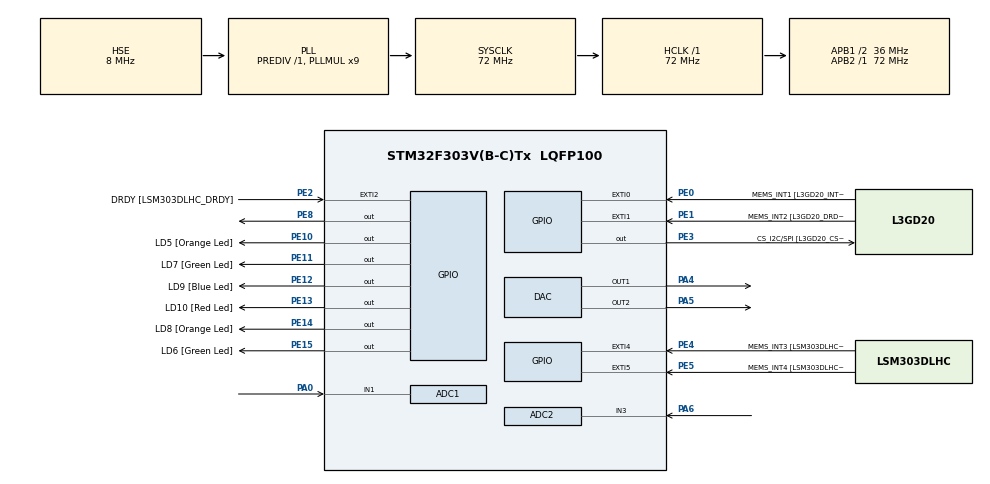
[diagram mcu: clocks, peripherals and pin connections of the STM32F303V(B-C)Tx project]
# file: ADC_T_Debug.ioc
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ADC1.Channel-10\#ChannelRegularConversion=ADC_CHANNEL_1
ADC1.Channel-11\#ChannelRegularConversion=ADC_CHANNEL_1
ADC1.ClockPrescaler=ADC_CLOCK_ASYNC_DIV1
ADC1.ContinuousConvMode=ENABLE
ADC1.DMAContinuousRequests=ENABLE
ADC1.DataAlign=ADC_DATAALIGN_RIGHT
ADC1.DiscontinuousConvMode=DISABLE
ADC1.EOCSelection=ADC_EOC_SINGLE_CONV
ADC1.EnableAnalogWatchDog1=false
ADC1.EnableAnalogWatchDog2=false
ADC1.EnableAnalogWatchDog3=false
ADC1.EnableInjectedConversion=ENABLE
ADC1.EnableRegularConversion=ENABLE
ADC1.ExternalTrigConv=ADC_EXTERNALTRIGCONV_T6_TRGO
ADC1.ExternalTrigConvEdge=ADC_EXTERNALTRIGCONVEDGE_RISING
ADC1.InjNumberOfConversion=0
ADC1.LowPowerAutoWait=DISABLE
ADC1.NbrOfConversion=2
ADC1.NbrOfConversionFlag=1
ADC1.Offset-10\#ChannelRegularConversion=0
ADC1.Offset-11\#ChannelRegularConversion=0
ADC1.OffsetNumber-10\#ChannelRegularConversion=ADC_OFFSET_NONE
ADC1.OffsetNumber-11\#ChannelRegularConversion=ADC_OFFSET_NONE
ADC1.Overrun=ADC_OVR_DATA_OVERWRITTEN
ADC1.Rank-10\#ChannelRegularConversion=1
ADC1.Rank-11\#ChannelRegularConversion=2
ADC1.Resolution=ADC_RESOLUTION_12B
ADC1.SamplingTime-10\#ChannelRegularConversion=ADC_SAMPLETIME_1CYCLE_5
ADC1.SamplingTime-11\#ChannelRegularConversion=ADC_SAMPLETIME_1CYCLE_5
ADC1.ScanConvMode=ADC_SCAN_ENABLE
ADC1.master=1
ADC2.Channel-0\#ChannelRegularConversion=ADC_CHANNEL_3
ADC2.ClockPrescaler=ADC_CLOCK_ASYNC_DIV1
ADC2.ContinuousConvMode=ENABLE
ADC2.DMAContinuousRequests=ENABLE
ADC2.DataAlign=ADC_DATAALIGN_RIGHT
ADC2.DiscontinuousConvMode=DISABLE
ADC2.EOCSelection=ADC_EOC_SINGLE_CONV
ADC2.EnableAnalogWatchDog1=false
ADC2.EnableAnalogWatchDog2=false
ADC2.EnableAnalogWatchDog3=false
ADC2.EnableInjectedConversion=ENABLE
ADC2.EnableRegularConversion=ENABLE
ADC2.ExternalTrigConv=ADC_EXTERNALTRIGCONV_T6_TRGO
ADC2.ExternalTrigConvEdge=ADC_EXTERNALTRIGCONVEDGE_RISING
ADC2.InjNumberOfConversion=0
ADC2.LowPowerAutoWait=DISABLE
ADC2.NbrOfConversion=1
ADC2.NbrOfConversionFlag=1
ADC2.Offset-0\#ChannelRegularConversion=0
ADC2.OffsetNumber-0\#ChannelRegularConversion=ADC_OFFSET_NONE
ADC2.Overrun=ADC_OVR_DATA_OVERWRITTEN
ADC2.Rank-0\#ChannelRegularConversion=1
ADC2.Resolution=ADC_RESOLUTION_12B
ADC2.SamplingTime-0\#ChannelRegularConversion=ADC_SAMPLETIME_1CYCLE_5
ADC2.ScanConvMode=ADC_SCAN_DISABLE
DAC.DAC_Trigger=DAC_TRIGGER_T6_TRGO
DAC.DAC_Trigger2=DAC_TRIGGER_T6_TRGO
Dma.ADC1.0.Direction=DMA_PERIPH_TO_MEMORY
Dma.ADC1.0.Instance=DMA1_Channel1
Dma.ADC1.0.MemDataAlignment=DMA_MDATAALIGN_WORD
Dma.ADC1.0.MemInc=DMA_MINC_ENABLE
Dma.ADC1.0.Mode=DMA_CIRCULAR
Dma.ADC1.0.PeriphDataAlignment=DMA_PDATAALIGN_WORD
Dma.ADC1.0.PeriphInc=DMA_PINC_DISABLE
Dma.ADC1.0.Priority=DMA_PRIORITY_HIGH
Dma.ADC2.3.Direction=DMA_PERIPH_TO_MEMORY
Dma.ADC2.3.Instance=DMA2_Channel3
Dma.ADC2.3.MemDataAlignment=DMA_MDATAALIGN_WORD
Dma.ADC2.3.MemInc=DMA_MINC_ENABLE
Dma.ADC2.3.Mode=DMA_CIRCULAR
Dma.ADC2.3.PeriphDataAlignment=DMA_PDATAALIGN_WORD
Dma.ADC2.3.PeriphInc=DMA_PINC_DISABLE
Dma.ADC2.3.Priority=DMA_PRIORITY_MEDIUM
Dma.DAC_CH1.1.Direction=DMA_MEMORY_TO_PERIPH
Dma.DAC_CH1.1.Instance=DMA1_Channel3
Dma.DAC_CH1.1.MemDataAlignment=DMA_MDATAALIGN_HALFWORD
Dma.DAC_CH1.1.MemInc=DMA_MINC_ENABLE
Dma.DAC_CH1.1.Mode=DMA_CIRCULAR
Dma.DAC_CH1.1.PeriphDataAlignment=DMA_PDATAALIGN_HALFWORD
Dma.DAC_CH1.1.PeriphInc=DMA_PINC_DISABLE
Dma.DAC_CH1.1.Priority=DMA_PRIORITY_LOW
Dma.DAC_CH2.2.Direction=DMA_MEMORY_TO_PERIPH
Dma.DAC_CH2.2.Instance=DMA1_Channel4
Dma.DAC_CH2.2.MemDataAlignment=DMA_MDATAALIGN_HALFWORD
Dma.DAC_CH2.2.MemInc=DMA_MINC_ENABLE
Dma.DAC_CH2.2.Mode=DMA_CIRCULAR
Dma.DAC_CH2.2.PeriphDataAlignment=DMA_PDATAALIGN_HALFWORD
Dma.DAC_CH2.2.PeriphInc=DMA_PINC_DISABLE
Dma.DAC_CH2.2.Priority=DMA_PRIORITY_LOW
Dma.Request0=ADC1
Dma.Request1=DAC_CH1
Dma.Request2=DAC_CH2
Dma.Request3=ADC2
Mcu.Family=STM32F3
Mcu.Name=STM32F303V(B-C)Tx
Mcu.Package=LQFP100
NVIC.DMA1_Channel1_IRQn=true\:0\:0\:false\:false\:true\:false
NVIC.DMA1_Channel3_IRQn=true\:0\:0\:false\:false\:true\:false
NVIC.DMA1_Channel4_IRQn=true\:0\:0\:false\:false\:true\:false
NVIC.DMA2_Channel3_IRQn=true\:0\:0\:false\:false\:true\:false
NVIC.PriorityGroup=NVIC_PRIORITYGROUP_0
PA0.Mode=IN1-Single-Ended
PA0.Signal=ADC1_IN1
PA11.GPIO_Label=DM
PA11.Signal=USB_DM
PA12.GPIO_Label=DP
PA12.Signal=USB_DP
PA13.GPIO_Label=SWDIO
PA13.Mode=Serial_Wire
PA13.Signal=SYS_JTMS-SWDIO
PA14.GPIO_Label=SWCLK
PA14.Mode=Serial_Wire
PA14.Signal=SYS_JTCK-SWCLK
PA4.Signal=COMP_DAC1_group
PA5.Signal=COMP_DAC2_group
PA6.Mode=IN3-Single-Ended
PA6.Signal=ADC2_IN3
PB3.GPIO_Label=SWO
PB3.Signal=SYS_JTDO-TRACESWO
PB6.GPIO_Label=I2C1_SCL [LSM303DLHC_SCL]
PB6.Signal=I2C1_SCL
PB7.GPIO_Label=I2C1_SDA [LSM303DLHC_SDA]
PB7.Signal=I2C1_SDA
PC14-OSC32_IN.GPIO_Label=OSC32_IN
PC14-OSC32_IN.Signal=RCC_OSC32_IN
PC15-OSC32_OUT.GPIO_Label=OSC32_OUT
PC15-OSC32_OUT.Signal=RCC_OSC32_OUT
PE0.GPIO_Label=MEMS_INT1 [L3GD20_INT1]
PE0.GPIO_ModeDefaultEXTI=GPIO_MODE_EVT_RISING
PE0.Signal=GPXTI0
PE1.GPIO_Label=MEMS_INT2 [L3GD20_DRDY/INT2]
PE1.GPIO_ModeDefaultEXTI=GPIO_MODE_EVT_RISING
PE1.Signal=GPXTI1
PE10.GPIO_Label=LD5 [Orange Led]
PE10.Signal=GPIO_Output
PE11.GPIO_Label=LD7 [Green Led]
PE11.Signal=GPIO_Output
PE12.GPIO_Label=LD9 [Blue Led]
PE12.Signal=GPIO_Output
PE13.GPIO_Label=LD10 [Red Led]
PE13.Signal=GPIO_Output
PE14.GPIO_Label=LD8 [Orange Led]
PE14.Signal=GPIO_Output
PE15.GPIO_Label=LD6 [Green Led]
PE15.Signal=GPIO_Output
PE2.GPIO_Label=DRDY [LSM303DLHC_DRDY]
PE2.GPIO_ModeDefaultEXTI=GPIO_MODE_EVT_RISING
PE2.Signal=GPXTI2
PE3.GPIO_Label=CS_I2C/SPI [L3GD20_CS_I2C/SPI]
PE3.Signal=GPIO_Output
PE4.GPIO_Label=MEMS_INT3 [LSM303DLHC_INT1]
PE4.GPIO_ModeDefaultEXTI=GPIO_MODE_EVT_RISING
PE4.Signal=GPXTI4
PE5.GPIO_Label=MEMS_INT4 [LSM303DLHC_INT2]
PE5.GPIO_ModeDefaultEXTI=GPIO_MODE_EVT_RISING
PE5.Signal=GPXTI5
PE8.GPIO_Speed=GPIO_SPEED_FREQ_HIGH
PE8.Signal=GPIO_Output
PF0-OSC_IN.GPIO_Label=OSC_IN
PF0-OSC_IN.Mode=HSE-External-Clock-Source
PF0-OSC_IN.Signal=RCC_OSC_IN
PF1-OSC_OUT.GPIO_Label=OSC_OUT
PF1-OSC_OUT.Signal=RCC_OSC_OUT
ProjectManager.HeapSize=0x200
ProjectManager.StackSize=0x400
ProjectManager.TargetToolchain=MDK-ARM V5
RCC.AHBFreq_Value=72000000
RCC.APB1CLKDivider=RCC_HCLK_DIV2
RCC.APB1Freq_Value=36000000
RCC.APB1TimFreq_Value=72000000
RCC.APB2Freq_Value=72000000
RCC.APB2TimFreq_Value=72000000
RCC.CortexFreq_Value=72000000
RCC.HCLKFreq_Value=72000000
RCC.HSE_VALUE=8000000
RCC.HSI_VALUE=8000000
RCC.LSE_VALUE=32768
RCC.PLLMUL=RCC_PLL_MUL9
RCC.PLLSourceVirtual=RCC_PLLSOURCE_HSE
RCC.PRESCALERUSB=RCC_USBCLKSOURCE_PLL_DIV1_5
RCC.SYSCLKFreq_VALUE=72000000
RCC.SYSCLKSourceVirtual=RCC_SYSCLKSOURCE_PLLCLK
RCC.USBFreq_Value=48000000
SH.COMP_DAC1_group.0=DAC_OUT1,DAC_OUT1
SH.COMP_DAC2_group.0=DAC_OUT2,Enable_DAC_OUT2
TIM6.Period=655
TIM6.TIM_MasterOutputTrigger=TIM_TRGO_UPDATE
VP_TIM6_VS_ClockSourceINT.Mode=Enable_Timer
board=STM32F3DISCOVERY

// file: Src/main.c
/**
  ******************************************************************************
  * @file           : main.c
  * @brief          : Main program body
  ******************************************************************************
  ** This notice applies to any and all portions of this file
  * that are not between comment pairs USER CODE BEGIN and
  * USER CODE END. Other portions of this file, whether
  * inserted by the user or by software development tools
  * are owned by their respective copyright owners.
  *
  * COPYRIGHT(c) 2018 STMicroelectronics
  *
  * Redistribution and use in source and binary forms, with or without modification,
  * are permitted provided that the following conditions are met:
  *   1. Redistributions of source code must retain the above copyright notice,
  *      this list of conditions and the following disclaimer.
  *   2. Redistributions in binary form must reproduce the above copyright notice,
  *      this list of conditions and the following disclaimer in the documentation
  *      and/or other materials provided with the distribution.
  *   3. Neither the name of STMicroelectronics nor the names of its contributors
  *      may be used to endorse or promote products derived from this software
  *      without specific prior written permission.
  *
  * THIS SOFTWARE IS PROVIDED BY THE COPYRIGHT HOLDERS AND CONTRIBUTORS "AS IS"
  * AND ANY EXPRESS OR IMPLIED WARRANTIES, INCLUDING, BUT NOT LIMITED TO, THE
  * IMPLIED WARRANTIES OF MERCHANTABILITY AND FITNESS FOR A PARTICULAR PURPOSE ARE
  * DISCLAIMED. IN NO EVENT SHALL THE COPYRIGHT HOLDER OR CONTRIBUTORS BE LIABLE
  * FOR ANY DIRECT, INDIRECT, INCIDENTAL, SPECIAL, EXEMPLARY, OR CONSEQUENTIAL
  * DAMAGES (INCLUDING, BUT NOT LIMITED TO, PROCUREMENT OF SUBSTITUTE GOODS OR
  * SERVICES; LOSS OF USE, DATA, OR PROFITS; OR BUSINESS INTERRUPTION) HOWEVER
  * CAUSED AND ON ANY THEORY OF LIABILITY, WHETHER IN CONTRACT, STRICT LIABILITY,
  * OR TORT (INCLUDING NEGLIGENCE OR OTHERWISE) ARISING IN ANY WAY OUT OF THE USE
  * OF THIS SOFTWARE, EVEN IF ADVISED OF THE POSSIBILITY OF SUCH DAMAGE.
  *
  ******************************************************************************
  */
#include "main.h"
#include "stm32f3xx_hal.h"

/* USER CODE BEGIN Includes */
#define ARM_MATH_CM4
#include<arm_math.h>
/* USER CODE END Includes */

ADC_HandleTypeDef hadc1;
ADC_HandleTypeDef hadc2;
DMA_HandleTypeDef hdma_adc1;
DMA_HandleTypeDef hdma_adc2;

DAC_HandleTypeDef hdac;
DMA_HandleTypeDef hdma_dac_ch1;
DMA_HandleTypeDef hdma_dac_ch2;

TIM_HandleTypeDef htim6;

/* USER CODE BEGIN PV */
/* Private variables ---------------------------------------------------------*/

/* USER CODE END PV */

void SystemClock_Config(void);
static void MX_GPIO_Init(void);
static void MX_DMA_Init(void);
static void MX_DAC_Init(void);
static void MX_TIM6_Init(void);
static void MX_ADC1_Init(void);
static void MX_ADC2_Init(void);

/* USER CODE BEGIN PFP */
/* Private function prototypes -----------------------------------------------*/

/* USER CODE END PFP */

/* USER CODE BEGIN 0 */
	uint32_t ADC1ConvertedValues[32];
	uint32_t ADC3ConvertedValues[32];
uint32_t time=0;
/* USER CODE END 0 */

int main(void)
{

  /* MCU Configuration----------------------------------------------------------*/

  /* Reset of all peripherals, Initializes the Flash interface and the Systick. */
  HAL_Init();

  /* Configure the system clock */
  SystemClock_Config();

  /* USER CODE BEGIN SysInit */
	uint16_t n =32 ;

	uint32_t Freq = 1000 ; // Frequency needed in Hertz

time = 72000000/(n*Freq) -1;
  /* USER CODE END SysInit */

  /* Initialize all configured peripherals */
  MX_GPIO_Init();
  MX_DMA_Init();
  MX_DAC_Init();
  MX_TIM6_Init();
  MX_ADC1_Init();
  MX_ADC2_Init();
  /* USER CODE BEGIN 2 */
		uint16_t y1[n], y2[n], value ;

		for (uint16_t i=0; i<n; i++){
		//	x[i] = i;
			value = (0.5*sinf(((2*PI)/n)*i)+1)*512;
			 y1[i] = value < 4096 ? value : 4095;
			y2[i] = (0.5*sinf(i*2*PI/n+PI)+1)*512;

		}

if (HAL_ADC_Start_DMA(&hadc1, (uint32_t*)ADC1ConvertedValues, 64) != HAL_OK)
	 return 0;

if (HAL_ADC_Start_DMA(&hadc2, (uint32_t*)ADC3ConvertedValues, 64) != HAL_OK)
	 return 0;

  /* USER CODE END 2 */

  /* Infinite loop */
  /* USER CODE BEGIN WHILE */
		//MX_TIM6_Init();

 // Set the needed timing in the Timer for required frequency

HAL_DAC_Start_DMA(&hdac, DAC_CHANNEL_1, (uint32_t*)y1, n, DAC_ALIGN_12B_R);
HAL_DAC_Start_DMA(&hdac, DAC_CHANNEL_2, (uint32_t*)y2, n, DAC_ALIGN_12B_R);
HAL_TIM_Base_Start(&htim6);
  while (1)
  {

  /* USER CODE END WHILE */

  }

}

void SystemClock_Config(void)
{

  RCC_OscInitTypeDef RCC_OscInitStruct;
  RCC_ClkInitTypeDef RCC_ClkInitStruct;
  RCC_PeriphCLKInitTypeDef PeriphClkInit;

    /**Initializes the CPU, AHB and APB busses clocks
    */
  RCC_OscInitStruct.OscillatorType = RCC_OSCILLATORTYPE_HSE;
  RCC_OscInitStruct.HSEState = RCC_HSE_BYPASS;
  RCC_OscInitStruct.HSEPredivValue = RCC_HSE_PREDIV_DIV1;
  RCC_OscInitStruct.HSIState = RCC_HSI_ON;
  RCC_OscInitStruct.PLL.PLLState = RCC_PLL_ON;
  RCC_OscInitStruct.PLL.PLLSource = RCC_PLLSOURCE_HSE;
  RCC_OscInitStruct.PLL.PLLMUL = RCC_PLL_MUL9;
  if (HAL_RCC_OscConfig(&RCC_OscInitStruct) != HAL_OK)
  {
    _Error_Handler(__FILE__, __LINE__);
  }

    /**Initializes the CPU, AHB and APB busses clocks
    */
  RCC_ClkInitStruct.ClockType = RCC_CLOCKTYPE_HCLK|RCC_CLOCKTYPE_SYSCLK
                              |RCC_CLOCKTYPE_PCLK1|RCC_CLOCKTYPE_PCLK2;
  RCC_ClkInitStruct.SYSCLKSource = RCC_SYSCLKSOURCE_PLLCLK;
  RCC_ClkInitStruct.AHBCLKDivider = RCC_SYSCLK_DIV1;
  RCC_ClkInitStruct.APB1CLKDivider = RCC_HCLK_DIV2;
  RCC_ClkInitStruct.APB2CLKDivider = RCC_HCLK_DIV1;

  if (HAL_RCC_ClockConfig(&RCC_ClkInitStruct, FLASH_LATENCY_2) != HAL_OK)
  {
    _Error_Handler(__FILE__, __LINE__);
  }

  PeriphClkInit.PeriphClockSelection = RCC_PERIPHCLK_ADC12;
  PeriphClkInit.Adc12ClockSelection = RCC_ADC12PLLCLK_DIV1;
  if (HAL_RCCEx_PeriphCLKConfig(&PeriphClkInit) != HAL_OK)
  {
    _Error_Handler(__FILE__, __LINE__);
  }

    /**Configure the Systick interrupt time
    */
  HAL_SYSTICK_Config(HAL_RCC_GetHCLKFreq()/1000);

    /**Configure the Systick
    */
  HAL_SYSTICK_CLKSourceConfig(SYSTICK_CLKSOURCE_HCLK);

  /* SysTick_IRQn interrupt configuration */
  HAL_NVIC_SetPriority(SysTick_IRQn, 0, 0);
}

/* ADC1 init function */
static void MX_ADC1_Init(void)
{

  ADC_MultiModeTypeDef multimode;
  ADC_ChannelConfTypeDef sConfig;

    /**Common config
    */
  hadc1.Instance = ADC1;
  hadc1.Init.ClockPrescaler = ADC_CLOCK_ASYNC_DIV1;
  hadc1.Init.Resolution = ADC_RESOLUTION_12B;
  hadc1.Init.ScanConvMode = ADC_SCAN_ENABLE;
  hadc1.Init.ContinuousConvMode = ENABLE;
  hadc1.Init.DiscontinuousConvMode = DISABLE;
  hadc1.Init.ExternalTrigConvEdge = ADC_EXTERNALTRIGCONVEDGE_RISING;
  hadc1.Init.ExternalTrigConv = ADC_EXTERNALTRIGCONV_T6_TRGO;
  hadc1.Init.DataAlign = ADC_DATAALIGN_RIGHT;
  hadc1.Init.NbrOfConversion = 2;
  hadc1.Init.DMAContinuousRequests = ENABLE;
  hadc1.Init.EOCSelection = ADC_EOC_SINGLE_CONV;
  hadc1.Init.LowPowerAutoWait = DISABLE;
  hadc1.Init.Overrun = ADC_OVR_DATA_OVERWRITTEN;
  if (HAL_ADC_Init(&hadc1) != HAL_OK)
  {
    _Error_Handler(__FILE__, __LINE__);
  }

    /**Configure the ADC multi-mode
    */
  multimode.Mode = ADC_MODE_INDEPENDENT;
  if (HAL_ADCEx_MultiModeConfigChannel(&hadc1, &multimode) != HAL_OK)
  {
    _Error_Handler(__FILE__, __LINE__);
  }

    /**Configure Regular Channel
    */
  sConfig.Channel = ADC_CHANNEL_1;
  sConfig.Rank = ADC_REGULAR_RANK_1;
  sConfig.SingleDiff = ADC_SINGLE_ENDED;
  sConfig.SamplingTime = ADC_SAMPLETIME_1CYCLE_5;
  sConfig.OffsetNumber = ADC_OFFSET_NONE;
  sConfig.Offset = 0;
  if (HAL_ADC_ConfigChannel(&hadc1, &sConfig) != HAL_OK)
  {
    _Error_Handler(__FILE__, __LINE__);
  }

    /**Configure Regular Channel
    */
  sConfig.Rank = ADC_REGULAR_RANK_2;
  if (HAL_ADC_ConfigChannel(&hadc1, &sConfig) != HAL_OK)
  {
    _Error_Handler(__FILE__, __LINE__);
  }

}

/* ADC2 init function */
static void MX_ADC2_Init(void)
{

  ADC_ChannelConfTypeDef sConfig;

    /**Common config
    */
  hadc2.Instance = ADC2;
  hadc2.Init.ClockPrescaler = ADC_CLOCK_ASYNC_DIV1;
  hadc2.Init.Resolution = ADC_RESOLUTION_12B;
  hadc2.Init.ScanConvMode = ADC_SCAN_DISABLE;
  hadc2.Init.ContinuousConvMode = ENABLE;
  hadc2.Init.DiscontinuousConvMode = DISABLE;
  hadc2.Init.ExternalTrigConvEdge = ADC_EXTERNALTRIGCONVEDGE_RISING;
  hadc2.Init.ExternalTrigConv = ADC_EXTERNALTRIGCONV_T6_TRGO;
  hadc2.Init.DataAlign = ADC_DATAALIGN_RIGHT;
  hadc2.Init.NbrOfConversion = 1;
  hadc2.Init.DMAContinuousRequests = ENABLE;
  hadc2.Init.EOCSelection = ADC_EOC_SINGLE_CONV;
  hadc2.Init.LowPowerAutoWait = DISABLE;
  hadc2.Init.Overrun = ADC_OVR_DATA_OVERWRITTEN;
  if (HAL_ADC_Init(&hadc2) != HAL_OK)
  {
    _Error_Handler(__FILE__, __LINE__);
  }

    /**Configure Regular Channel
    */
  sConfig.Channel = ADC_CHANNEL_3;
  sConfig.Rank = ADC_REGULAR_RANK_1;
  sConfig.SingleDiff = ADC_SINGLE_ENDED;
  sConfig.SamplingTime = ADC_SAMPLETIME_1CYCLE_5;
  sConfig.OffsetNumber = ADC_OFFSET_NONE;
  sConfig.Offset = 0;
  if (HAL_ADC_ConfigChannel(&hadc2, &sConfig) != HAL_OK)
  {
    _Error_Handler(__FILE__, __LINE__);
  }

}

/* DAC init function */
static void MX_DAC_Init(void)
{

  DAC_ChannelConfTypeDef sConfig;

    /**DAC Initialization
    */
  hdac.Instance = DAC;
  if (HAL_DAC_Init(&hdac) != HAL_OK)
  {
    _Error_Handler(__FILE__, __LINE__);
  }

    /**DAC channel OUT1 config
    */
  sConfig.DAC_Trigger = DAC_TRIGGER_T6_TRGO;
  sConfig.DAC_OutputBuffer = DAC_OUTPUTBUFFER_ENABLE;
  if (HAL_DAC_ConfigChannel(&hdac, &sConfig, DAC_CHANNEL_1) != HAL_OK)
  {
    _Error_Handler(__FILE__, __LINE__);
  }

    /**DAC channel OUT2 config
    */
  if (HAL_DAC_ConfigChannel(&hdac, &sConfig, DAC_CHANNEL_2) != HAL_OK)
  {
    _Error_Handler(__FILE__, __LINE__);
  }

}

/* TIM6 init function */
static void MX_TIM6_Init(void)
{

  TIM_MasterConfigTypeDef sMasterConfig;

  htim6.Instance = TIM6;
  htim6.Init.Prescaler = 0;
  htim6.Init.CounterMode = TIM_COUNTERMODE_UP;
  htim6.Init.Period = 655;
  htim6.Init.AutoReloadPreload = TIM_AUTORELOAD_PRELOAD_DISABLE;
  if (HAL_TIM_Base_Init(&htim6) != HAL_OK)
  {
    _Error_Handler(__FILE__, __LINE__);
  }

  sMasterConfig.MasterOutputTrigger = TIM_TRGO_UPDATE;
  sMasterConfig.MasterSlaveMode = TIM_MASTERSLAVEMODE_DISABLE;
  if (HAL_TIMEx_MasterConfigSynchronization(&htim6, &sMasterConfig) != HAL_OK)
  {
    _Error_Handler(__FILE__, __LINE__);
  }

}

static void MX_DMA_Init(void)
{
  /* DMA controller clock enable */
  __HAL_RCC_DMA1_CLK_ENABLE();
  __HAL_RCC_DMA2_CLK_ENABLE();

  /* DMA interrupt init */
  /* DMA1_Channel1_IRQn interrupt configuration */
  HAL_NVIC_SetPriority(DMA1_Channel1_IRQn, 0, 0);
  HAL_NVIC_EnableIRQ(DMA1_Channel1_IRQn);
  /* DMA1_Channel3_IRQn interrupt configuration */
  HAL_NVIC_SetPriority(DMA1_Channel3_IRQn, 0, 0);
  HAL_NVIC_EnableIRQ(DMA1_Channel3_IRQn);
  /* DMA1_Channel4_IRQn interrupt configuration */
  HAL_NVIC_SetPriority(DMA1_Channel4_IRQn, 0, 0);
  HAL_NVIC_EnableIRQ(DMA1_Channel4_IRQn);
  /* DMA2_Channel3_IRQn interrupt configuration */
  HAL_NVIC_SetPriority(DMA2_Channel3_IRQn, 0, 0);
  HAL_NVIC_EnableIRQ(DMA2_Channel3_IRQn);

}

/** Configure pins as
        * Analog
        * Input
        * Output
        * EVENT_OUT
        * EXTI
     PA11   ------> USB_DM
     PA12   ------> USB_DP
     PB6   ------> I2C1_SCL
     PB7   ------> I2C1_SDA
*/
static void MX_GPIO_Init(void)
{

  GPIO_InitTypeDef GPIO_InitStruct;

  /* GPIO Ports Clock Enable */
  __HAL_RCC_GPIOE_CLK_ENABLE();
  __HAL_RCC_GPIOC_CLK_ENABLE();
  __HAL_RCC_GPIOF_CLK_ENABLE();
  __HAL_RCC_GPIOA_CLK_ENABLE();
  __HAL_RCC_GPIOB_CLK_ENABLE();

  /*Configure GPIO pin Output Level */
  HAL_GPIO_WritePin(GPIOE, CS_I2C_SPI_Pin|GPIO_PIN_8|LD5_Pin|LD7_Pin
                          |LD9_Pin|LD10_Pin|LD8_Pin|LD6_Pin, GPIO_PIN_RESET);

  /*Configure GPIO pins : DRDY_Pin MEMS_INT3_Pin MEMS_INT4_Pin MEMS_INT1_Pin
                           MEMS_INT2_Pin */
  GPIO_InitStruct.Pin = DRDY_Pin|MEMS_INT3_Pin|MEMS_INT4_Pin|MEMS_INT1_Pin
                          |MEMS_INT2_Pin;
  GPIO_InitStruct.Mode = GPIO_MODE_EVT_RISING;
  GPIO_InitStruct.Pull = GPIO_NOPULL;
  HAL_GPIO_Init(GPIOE, &GPIO_InitStruct);

  /*Configure GPIO pins : CS_I2C_SPI_Pin LD5_Pin LD7_Pin LD9_Pin
                           LD10_Pin LD8_Pin LD6_Pin */
  GPIO_InitStruct.Pin = CS_I2C_SPI_Pin|LD5_Pin|LD7_Pin|LD9_Pin
                          |LD10_Pin|LD8_Pin|LD6_Pin;
  GPIO_InitStruct.Mode = GPIO_MODE_OUTPUT_PP;
  GPIO_InitStruct.Pull = GPIO_NOPULL;
  GPIO_InitStruct.Speed = GPIO_SPEED_FREQ_LOW;
  HAL_GPIO_Init(GPIOE, &GPIO_InitStruct);

  /*Configure GPIO pin : PE8 */
  GPIO_InitStruct.Pin = GPIO_PIN_8;
  GPIO_InitStruct.Mode = GPIO_MODE_OUTPUT_PP;
  GPIO_InitStruct.Pull = GPIO_NOPULL;
  GPIO_InitStruct.Speed = GPIO_SPEED_FREQ_HIGH;
  HAL_GPIO_Init(GPIOE, &GPIO_InitStruct);

  /*Configure GPIO pins : DM_Pin DP_Pin */
  GPIO_InitStruct.Pin = DM_Pin|DP_Pin;
  GPIO_InitStruct.Mode = GPIO_MODE_AF_PP;
  GPIO_InitStruct.Pull = GPIO_NOPULL;
  GPIO_InitStruct.Speed = GPIO_SPEED_FREQ_HIGH;
  GPIO_InitStruct.Alternate = GPIO_AF14_USB;
  HAL_GPIO_Init(GPIOA, &GPIO_InitStruct);

  /*Configure GPIO pins : I2C1_SCL_Pin I2C1_SDA_Pin */
  GPIO_InitStruct.Pin = I2C1_SCL_Pin|I2C1_SDA_Pin;
  GPIO_InitStruct.Mode = GPIO_MODE_AF_OD;
  GPIO_InitStruct.Pull = GPIO_PULLUP;
  GPIO_InitStruct.Speed = GPIO_SPEED_FREQ_HIGH;
  GPIO_InitStruct.Alternate = GPIO_AF4_I2C1;
  HAL_GPIO_Init(GPIOB, &GPIO_InitStruct);

}

void _Error_Handler(char *file, int line)
{
  while(1)
  {
  }
}

/************************ (C) COPYRIGHT STMicroelectronics *****END OF FILE****/
